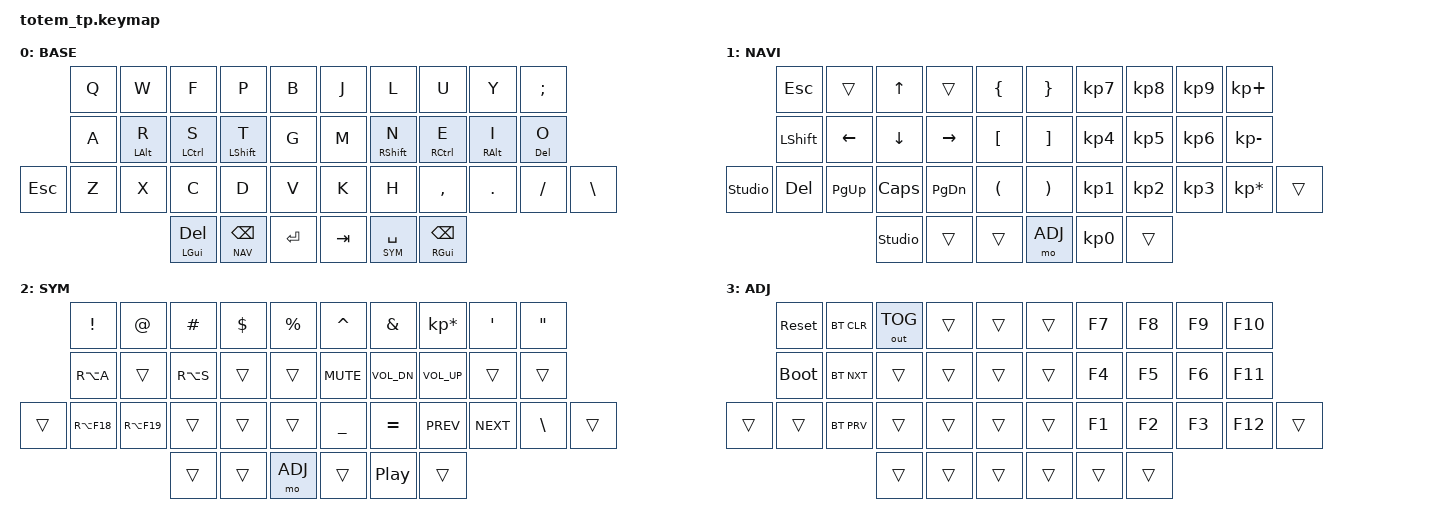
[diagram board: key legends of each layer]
//
//                                                        ▀▀▀▀▀     ▀▀▀▀▀          ▀▀█▀▀
//                                                        ▄▀▀▀▄  ▄  ▄▀▀▀▄  ▄  ▄▀▀▀▄  █  ▄▀▀▀▄
//                                                        █   █  █  █   █  █  █   █  █  █   █
//                                                         ▀▀▀   █   ▀▀▀   █   ▀▀▀   ▀   ▀▀▀
//                                                               █      ▄▄▄█▄▄▄    █   █  
//                                                               ▀      █  █  █     █▄█
//                                                             ▀▀▀▀▀    █  █  █      ▀
//                                                                      ▀  ▀  ▀
//
// ▄▄▄▄▄▄▄▄▄▄▄▄▄▄▄▄▄▄▄▄▄▄▄▄▄▄▄▄▄▄▄▄▄▄▄▄▄▄▄▄▄▄▄▄▄▄▄▄▄▄▄▄▄▄▄▄▄▄▄▄▄▄▄▄▄▄▄▄▄▄▄▄▄▄▄▄▄▄▄▄▄▄▄▄▄▄▄▄▄▄▄▄▄▄▄▄▄▄▄▄▄▄▄▄▄▄▄▄▄▄▄▄▄▄▄▄▄▄▄▄▄▄▄▄▄▄▄▄▄▄▄▄▄▄▄▄▄▄▄▄▄▄▄▄▄▄▄▄▄

#include <behaviors.dtsi>
#include <dt-bindings/zmk/bt.h>
#include <dt-bindings/zmk/keys.h>
#include <dt-bindings/zmk/outputs.h>

#define BASE 0
#define NAV  1
#define SYM  2
#define ADJ  3

#define S_UNDO &kp LC(Z)
#define S_CUT &kp LC(X)
#define S_COPY &kp LC(C)
#define S_PASTE &kp LC(V)
#define S_REDO &kp LC(Y)

&mt {
    quick-tap-ms = <150>;
    global-quick-tap;
    flavor = "tap-preferred";
    tapping-term-ms = <250>;
};

/ {
   //combos {
       // compatible = "zmk,combos";

      //  combo_esc {
           // timeout-ms = <50>;
           // key-positions = <0 1>;
           // bindings = <&kp ESC>;
       // };
  //  };

    macros {
    };

    keymap {
        compatible = "zmk,keymap";

        // ▄▄▄▄▄▄▄▄▄▄▄▄▄▄▄▄▄▄▄▄▄▄▄▄▄▄▄▄▄▄▄▄▄▄▄▄▄▄▄▄▄▄▄▄▄▄▄▄▄▄▄▄▄▄▄▄▄▄▄▄▄▄▄▄▄▄▄▄▄▄▄▄▄▄▄▄▄▄▄▄▄▄▄▄▄▄▄▄▄▄▄▄▄▄▄▄▄▄▄▄▄▄▄▄▄▄▄▄▄▄▄▄▄▄▄▄▄▄▄▄▄▄▄▄▄▄▄▄▄▄▄▄▄▄▄▄▄▄▄▄▄▄▄▄▄▄▄▄▄

        base_layer {
            // ┏━━━━━━━━━━━━━━━━━━━━━━━━━━━━━━━━━━━━━━━┓

            label = "BASE";

            // ┗━━━━━━━━━━━━━━━━━━━━━━━━━━━━━━━━━━━━━━━┛
            //             ┏━━━━━━━━━━━┳━━━━━━━━━━━┳━━━━━━━━━━━┳━━━━━━━━━━━┳━━━━━━━━━━━┓               ┏━━━━━━━━━━━┳━━━━━━━━━━━┳━━━━━━━━━━━┳━━━━━━━━━━━┳━━━━━━━━━━━┓
            //             ┃     Q     ┃     W     ┃     F     ┃     P     ┃     B     ┃               ┃     J     ┃     L     ┃     U     ┃     Y     ┃     ;     ┃
            //             ┣━━━━━━━━━━━╋━━━━━━━━━━━╋━━━━━━━━━━━╋━━━━━━━━━━━╋━━━━━━━━━━━┫               ┣━━━━━━━━━━━╋━━━━━━━━━━━╋━━━━━━━━━━━╋━━━━━━━━━━━╋━━━━━━━━━━━┫
            //             ┃     A     ┃     R     ┃     S     ┃     T     ┃     G     ┃               ┃     M     ┃     N     ┃     E     ┃     I     ┃     O     ┃
            // ┏━━━━━━━━━━━╋━━━━━━━━━━━╋━━━━━━━━━━━╋━━━━━━━━━━━╋━━━━━━━━━━━╋━━━━━━━━━━━┫               ┣━━━━━━━━━━━╋━━━━━━━━━━━╋━━━━━━━━━━━╋━━━━━━━━━━━╋━━━━━━━━━━━╋━━━━━━━━━━━┓
            // ┃    ESC    ┃     Z     ┃     X     ┃     C     ┃     D     ┃     V     ┃               ┃     K     ┃     H     ┃     ,     ┃     .     ┃     /     ┃     \     ┃
            // ┗━━━━━━━━━━━┻━━━━━━━━━━━┻━━━━━━━━━━━╋━━━━━━━━━━━╋━━━━━━━━━━━╋━━━━━━━━━━━┫               ┣━━━━━━━━━━━╋━━━━━━━━━━━╋━━━━━━━━━━━╋━━━━━━━━━━━┻━━━━━━━━━━━┻━━━━━━━━━━━┛
            //                                     ┃    DEL    ┃   BSPC    ┃   ENTER   ┃               ┃    TAB    ┃    SPC    ┃   BSPC    ┃
            //                                     ┗━━━━━━━━━━━┻━━━━━━━━━━━┻━━━━━━━━━━━┛               ┗━━━━━━━━━━━┻━━━━━━━━━━━┻━━━━━━━━━━━┛

            bindings = <
                &kp Q            &kp W           &kp F              &kp P          &kp B                  &kp J      &kp L          &kp U        &kp Y       &kp SEMI
                &kp A            &mt LALT R      &mt LCTRL S        &mt LSHFT T    &kp G                  &kp M      &mt RSHFT N    &mt RCTRL E  &mt RALT I  &mt DEL O
&kp ESC         &kp Z            &kp X           &kp C              &kp D          &kp V                  &kp K      &kp H          &kp COMMA    &kp DOT     &kp FSLH            &kp BSLH
                                                 &mt LGUI DEL       &lt NAV BSPC   &kp RET                &kp TAB    &lt SYM SPACE  &mt RGUI BSPC
            >;
        };

        // ▄▄▄▄▄▄▄▄▄▄▄▄▄▄▄▄▄▄▄▄▄▄▄▄▄▄▄▄▄▄▄▄▄▄▄▄▄▄▄▄▄▄▄▄▄▄▄▄▄▄▄▄▄▄▄▄▄▄▄▄▄▄▄▄▄▄▄▄▄▄▄▄▄▄▄▄▄▄▄▄▄▄▄▄▄▄▄▄▄▄▄▄▄▄▄▄▄▄▄▄▄▄▄▄▄▄▄▄▄▄▄▄▄▄▄▄▄▄▄▄▄▄▄▄▄▄▄▄▄▄▄▄▄▄▄▄▄▄▄▄▄▄▄▄▄▄▄▄▄

        nav_layer {
            // ┏━━━━━━━━━━━━━━━━━━━━━━━━━━━━━━━━━━━━━━━┓

            label = "NAVI";

            // ┗━━━━━━━━━━━━━━━━━━━━━━━━━━━━━━━━━━━━━━━┛
            //             ┏━━━━━━━━━━━┳━━━━━━━━━━━┳━━━━━━━━━━━┳━━━━━━━━━━━┳━━━━━━━━━━━┓   ┏━━━━━━━━━━━┳━━━━━━━━━━━┳━━━━━━━━━━━┳━━━━━━━━━━━┳━━━━━━━━━━━┓
            //             ┃           ┃           ┃     UP    ┃           ┃     {     ┃   ┃     }     ┃     7     ┃     8     ┃     9     ┃     +     ┃
            //             ┣━━━━━━━━━━━╋━━━━━━━━━━━╋━━━━━━━━━━━╋━━━━━━━━━━━╋━━━━━━━━━━━┫   ┣━━━━━━━━━━━╋━━━━━━━━━━━╋━━━━━━━━━━━╋━━━━━━━━━━━╋━━━━━━━━━━━┫
            //             ┃   SHIFT   ┃   LEFT    ┃    DOWN   ┃   RIGHT   ┃     [     ┃   ┃     ]     ┃     4     ┃     5     ┃     6     ┃     -     ┃
            // ┏━━━━━━━━━━━╋━━━━━━━━━━━╋━━━━━━━━━━━╋━━━━━━━━━━━╋━━━━━━━━━━━╋━━━━━━━━━━━┫   ┣━━━━━━━━━━━╋━━━━━━━━━━━╋━━━━━━━━━━━╋━━━━━━━━━━━╋━━━━━━━━━━━╋━━━━━━━━━━━┓
            // ┃           ┃           ┃   P UP    ┃  C LOCK   ┃  P DOWN   ┃     (     ┃   ┃     )     ┃     1     ┃     2     ┃     3     ┃     *     ┃           ┃
            // ┗━━━━━━━━━━━┻━━━━━━━━━━━┻━━━━━━━━━━━╋━━━━━━━━━━━╋━━━━━━━━━━━╋━━━━━━━━━━━┫   ┣━━━━━━━━━━━╋━━━━━━━━━━━╋━━━━━━━━━━━╋━━━━━━━━━━━┻━━━━━━━━━━━┻━━━━━━━━━━━┛
            //                                     ┃           ┃   BSPC    ┃   ENTER   ┃   ┃    DEL    ┃     0     ┃           ┃
            //                                     ┗━━━━━━━━━━━┻━━━━━━━━━━━┻━━━━━━━━━━━┛   ┗━━━━━━━━━━━┻━━━━━━━━━━━┻━━━━━━━━━━━┛

            bindings = <
        &kp ESC    &trans      &kp UP    &trans     &kp LBRC    &kp RBRC  &kp KP_N7  &kp KP_N8  &kp KP_N9  &kp KP_PLUS
        &kp LSHFT  &kp LEFT    &kp DOWN  &kp RIGHT  &kp LBKT    &kp RBKT  &kp KP_N4  &kp KP_N5  &kp KP_N6  &kp KP_MINUS
&studio_unlock  &kp DEL    &kp PG_UP   &kp CAPS  &kp PG_DN  &kp LPAR    &kp RPAR  &kp KP_N1  &kp KP_N2  &kp KP_N3  &kp KP_MULTIPLY  &trans
                               &studio_unlock    &trans     &trans      &mo ADJ   &kp KP_N0  &trans
            >;
        };

        // ▄▄▄▄▄▄▄▄▄▄▄▄▄▄▄▄▄▄▄▄▄▄▄▄▄▄▄▄▄▄▄▄▄▄▄▄▄▄▄▄▄▄▄▄▄▄▄▄▄▄▄▄▄▄▄▄▄▄▄▄▄▄▄▄▄▄▄▄▄▄▄▄▄▄▄▄▄▄▄▄▄▄▄▄▄▄▄▄▄▄▄▄▄▄▄▄▄▄▄▄▄▄▄▄▄▄▄▄▄▄▄▄▄▄▄▄▄▄▄▄▄▄▄▄▄▄▄▄▄▄▄▄▄▄▄▄▄▄▄▄▄▄▄▄▄▄▄▄▄

        sim_layer {
            // ┏━━━━━━━━━━━━━━━━━━━━━━━━━━━━━━━━━━━━━━━┓

            label = "SYM";

            // ┗━━━━━━━━━━━━━━━━━━━━━━━━━━━━━━━━━━━━━━━┛
            //             ┏━━━━━━━━━━━┳━━━━━━━━━━━┳━━━━━━━━━━━┳━━━━━━━━━━━┳━━━━━━━━━━━┓   ┏━━━━━━━━━━━┳━━━━━━━━━━━┳━━━━━━━━━━━┳━━━━━━━━━━━┳━━━━━━━━━━━┓
            //             ┃     !     ┃     @     ┃     #     ┃     $     ┃     %     ┃   ┃     ˆ     ┃     &     ┃     *     ┃     '     ┃     "     ┃
            //             ┣━━━━━━━━━━━╋━━━━━━━━━━━╋━━━━━━━━━━━╋━━━━━━━━━━━╋━━━━━━━━━━━┫   ┣━━━━━━━━━━━╋━━━━━━━━━━━╋━━━━━━━━━━━╋━━━━━━━━━━━╋━━━━━━━━━━━┫
            //             ┃     Ä     ┃           ┃    SZ     ┃           ┃           ┃   ┃   MUTE    ┃    VOL-   ┃   VOL+    ┃           ┃           ┃
            // ┏━━━━━━━━━━━╋━━━━━━━━━━━╋━━━━━━━━━━━╋━━━━━━━━━━━╋━━━━━━━━━━━╋━━━━━━━━━━━┫   ┣━━━━━━━━━━━╋━━━━━━━━━━━╋━━━━━━━━━━━╋━━━━━━━━━━━╋━━━━━━━━━━━╋━━━━━━━━━━━┓
            // ┃           ┃  EMAIL1   ┃  EMAIL2   ┃           ┃           ┃           ┃   ┃     _     ┃     =     ┃   LAST    ┃   NEXT    ┃     \     ┃           ┃
            // ┗━━━━━━━━━━━┻━━━━━━━━━━━┻━━━━━━━━━━━╋━━━━━━━━━━━╋━━━━━━━━━━━╋━━━━━━━━━━━┫   ┣━━━━━━━━━━━╋━━━━━━━━━━━╋━━━━━━━━━━━╋━━━━━━━━━━━┻━━━━━━━━━━━┻━━━━━━━━━━━┛
            //                                     ┃           ┃           ┃    ADJ    ┃   ┃           ┃           ┃           ┃
            //                                     ┗━━━━━━━━━━━┻━━━━━━━━━━━┻━━━━━━━━━━━┛   ┗━━━━━━━━━━━┻━━━━━━━━━━━┻━━━━━━━━━━━┛

            bindings = <
        &kp EXCL     &kp AT       &kp HASH   &kp DLLR  &kp PRCNT    &kp CARET     &kp AMPS        &kp KP_ASTERISK  &kp SQT     &kp DQT
        &kp RA(A)    &trans       &kp RA(S)  &trans    &trans       &kp C_MUTE    &kp C_VOL_DN    &kp C_VOL_UP     &trans      &trans
&trans  &kp RA(F18)  &kp RA(F19)  &trans     &trans    &trans       &kp UNDER     &kp EQUAL       &kp C_PREV       &kp C_NEXT  &kp BSLH   &trans
                                  &trans     &trans    &mo ADJ      &trans        &kp C_PP        &trans
            >;
        };
        // ▄▄▄▄▄▄▄▄▄▄▄▄▄▄▄▄▄▄▄▄▄▄▄▄▄▄▄▄▄▄▄▄▄▄▄▄▄▄▄▄▄▄▄▄▄▄▄▄▄▄▄▄▄▄▄▄▄▄▄▄▄▄▄▄▄▄▄▄▄▄▄▄▄▄▄▄▄▄▄▄▄▄▄▄▄▄▄▄▄▄▄▄▄▄▄▄▄▄▄▄▄▄▄▄▄▄▄▄▄▄▄▄▄▄▄▄▄▄▄▄▄▄▄▄▄▄▄▄▄▄▄▄▄▄▄▄▄▄▄▄▄▄▄▄▄▄▄▄▄

        adjust_layer {
            // ┏━━━━━━━━━━━━━━━━━━━━━━━━━━━━━━━━━━━━━━━┓

            label = "ADJ";

            // ┗━━━━━━━━━━━━━━━━━━━━━━━━━━━━━━━━━━━━━━━┛
            //             ┏━━━━━━━━━━━┳━━━━━━━━━━━┳━━━━━━━━━━━┳━━━━━━━━━━━┳━━━━━━━━━━━┓   ┏━━━━━━━━━━━┳━━━━━━━━━━━┳━━━━━━━━━━━┳━━━━━━━━━━━┳━━━━━━━━━━━┓
            //             ┃   RESET   ┃ BT CLEAR  ┃  OUT TOG  ┃           ┃           ┃   ┃           ┃    F7     ┃    F8     ┃    F9     ┃    F10    ┃
            //             ┣━━━━━━━━━━━╋━━━━━━━━━━━╋━━━━━━━━━━━╋━━━━━━━━━━━╋━━━━━━━━━━━┫   ┣━━━━━━━━━━━╋━━━━━━━━━━━╋━━━━━━━━━━━╋━━━━━━━━━━━╋━━━━━━━━━━━┫
            //             ┃ BOOTLOAD  ┃ BT NEXT   ┃           ┃           ┃           ┃   ┃           ┃    F4     ┃    F5     ┃    F6     ┃    F11    ┃
            // ┏━━━━━━━━━━━╋━━━━━━━━━━━╋━━━━━━━━━━━╋━━━━━━━━━━━╋━━━━━━━━━━━╋━━━━━━━━━━━┫   ┣━━━━━━━━━━━╋━━━━━━━━━━━╋━━━━━━━━━━━╋━━━━━━━━━━━╋━━━━━━━━━━━╋━━━━━━━━━━━┓
            // ┃           ┃           ┃ BT PREV   ┃           ┃           ┃           ┃   ┃           ┃    F1     ┃    F2     ┃    F3     ┃    F12    ┃           ┃
            // ┗━━━━━━━━━━━┻━━━━━━━━━━━┻━━━━━━━━━━━╋━━━━━━━━━━━╋━━━━━━━━━━━╋━━━━━━━━━━━┫   ┣━━━━━━━━━━━╋━━━━━━━━━━━╋━━━━━━━━━━━╋━━━━━━━━━━━┻━━━━━━━━━━━┻━━━━━━━━━━━┛
            //                                     ┃           ┃           ┃           ┃   ┃           ┃           ┃           ┃
            //                                     ┗━━━━━━━━━━━┻━━━━━━━━━━━┻━━━━━━━━━━━┛   ┗━━━━━━━━━━━┻━━━━━━━━━━━┻━━━━━━━━━━━┛

            bindings = <
        &sys_reset   &bt BT_CLR  &out OUT_TOG  &trans  &trans    &trans  &kp F7  &kp F8  &kp F9  &kp F10
        &bootloader  &bt BT_NXT  &trans        &trans  &trans    &trans  &kp F4  &kp F5  &kp F6  &kp F11
&trans  &trans       &bt BT_PRV  &trans        &trans  &trans    &trans  &kp F1  &kp F2  &kp F3  &kp F12  &trans
                                 &trans        &trans  &trans    &trans  &trans  &trans
            >;
        };
    };
};
